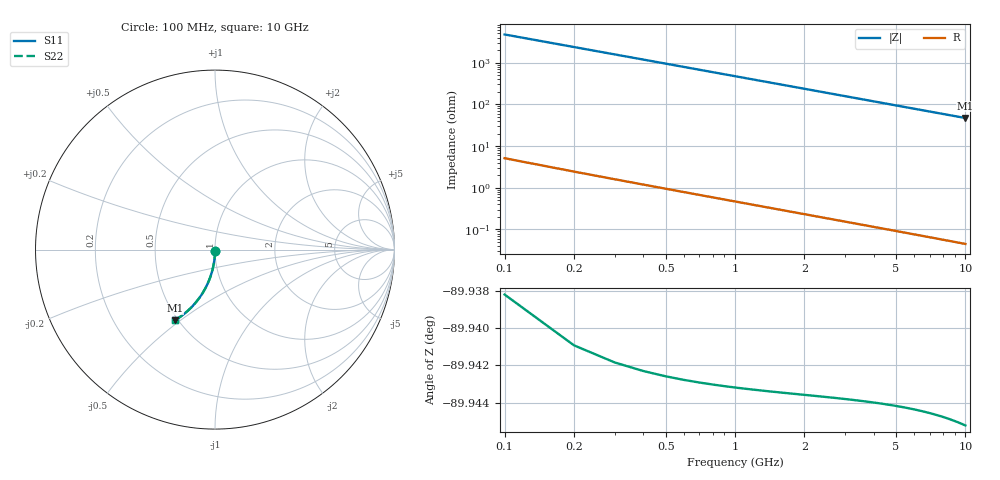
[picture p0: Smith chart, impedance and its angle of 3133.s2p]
# Hz S RI R 50.00
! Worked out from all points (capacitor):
!   100 points, 100 MHz to 10 GHz, reference 50 ohm
!   read as one part in shunt: C = 336 fF near 100 MHz
!   lowest |Z| = 47.1 ohm at 10 GHz (marker M1)
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1e8  2.41e-05 -0.00506  0.9999 -0.0055  0.9999 -0.0055  2.41e-05 -0.00506
2e8  -6.41e-05 -0.0101  0.9998 -0.011  0.9998 -0.011  -6.41e-05 -0.0101
3e8  -0.000208 -0.0152  0.9997 -0.0165  0.9997 -0.0165  -0.000208 -0.0152
4e8  -0.000407 -0.0202  0.9995 -0.022  0.9995 -0.022  -0.000407 -0.0202
5e8  -0.000662 -0.0253  0.9992 -0.0275  0.9992 -0.0275  -0.000662 -0.0253
6e8  -0.000973 -0.0303  0.9989 -0.033  0.9989 -0.033  -0.000973 -0.0303
7e8  -0.00134 -0.0354  0.9985 -0.0384  0.9985 -0.0384  -0.00134 -0.0354
8e8  -0.00176 -0.0404  0.9981 -0.0439  0.9981 -0.0439  -0.00176 -0.0404
9e8  -0.00224 -0.0454  0.9976 -0.0494  0.9976 -0.0494  -0.00224 -0.0454
1.1e9  -0.00336 -0.0555  0.9965 -0.0603  0.9965 -0.0603  -0.00336 -0.0555
1.4e9  -0.00544 -0.0705  0.9944 -0.0766  0.9944 -0.0766  -0.00544 -0.0705
1.8e9  -0.00899 -0.0903  0.9909 -0.0983  0.9909 -0.0983  -0.00899 -0.0903
2.1e9  -0.0122 -0.1051  0.9876 -0.1143  0.9876 -0.1143  -0.0122 -0.1051
2.5e9  -0.0172 -0.1245  0.9826 -0.1355  0.9826 -0.1355  -0.0172 -0.1245
2.9e9  -0.0231 -0.1436  0.9767 -0.1564  0.9767 -0.1564  -0.0231 -0.1436
3.4e9  -0.0315 -0.167  0.9682 -0.1821  0.9682 -0.1821  -0.0315 -0.167
4.2e9  -0.0474 -0.203  0.9523 -0.2217  0.9523 -0.2217  -0.0474 -0.203
5.1e9  -0.0686 -0.2412  0.931 -0.264  0.931 -0.264  -0.0686 -0.2412
5.9e9  -0.09 -0.2728  0.9096 -0.2991  0.9096 -0.2991  -0.09 -0.2728
6.7e9  -0.1134 -0.3019  0.8861 -0.3319  0.8861 -0.3319  -0.1134 -0.3019
8.4e9  -0.1682 -0.355  0.8309 -0.3929  0.8309 -0.3929  -0.1682 -0.355
1e10  -0.2237 -0.394  0.7751 -0.4393  0.7751 -0.4393  -0.2237 -0.394
